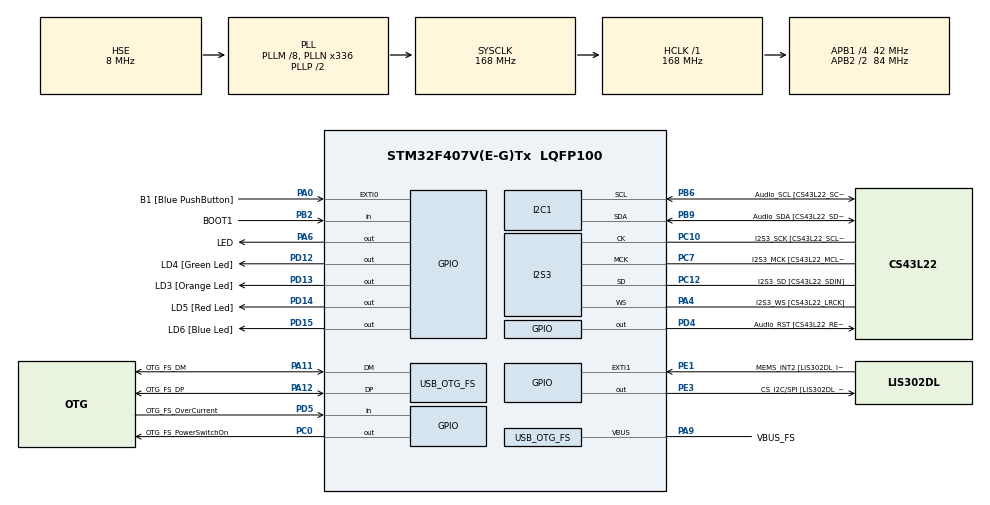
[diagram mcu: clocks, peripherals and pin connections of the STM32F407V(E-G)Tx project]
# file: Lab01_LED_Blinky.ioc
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I2S3.AudioFreq-Half_Duplex_Master=I2S_AUDIOFREQ_96K
I2S3.ErrorAudioFreq=-2.34 %
I2S3.ErrorAudioFreq-Half_Duplex_Master=0.8 %
I2S3.FullDuplexMode=I2S_FULLDUPLEXMODE_DISABLE
I2S3.Instance=SPI$Index
I2S3.RealAudioFreq=93.75 KHz
I2S3.RealAudioFreq-Half_Duplex_Master=96.774 KHz
I2S3.VirtualMode=I2S_MODE_MASTER
Mcu.Family=STM32F4
Mcu.Name=STM32F407V(E-G)Tx
Mcu.Package=LQFP100
NVIC.OTG_FS_IRQn=true\:0\:0\:false\:false\:true\:true\:true\:true
NVIC.PriorityGroup=NVIC_PRIORITYGROUP_0
PA0-WKUP.GPIO_Label=B1 [Blue PushButton]
PA0-WKUP.GPIO_ModeDefaultEXTI=GPIO_MODE_EVT_RISING
PA0-WKUP.GPIO_PuPd=GPIO_NOPULL
PA0-WKUP.Signal=GPXTI0
PA10.GPIO_Label=OTG_FS_ID
PA10.GPIO_Mode=GPIO_MODE_AF_PP
PA10.GPIO_PuPd=GPIO_NOPULL
PA10.GPIO_Speed=GPIO_SPEED_FREQ_LOW
PA10.Signal=USB_OTG_FS_ID
PA11.GPIO_Label=OTG_FS_DM
PA11.GPIO_Mode=GPIO_MODE_AF_PP
PA11.GPIO_PuPd=GPIO_NOPULL
PA11.GPIO_Speed=GPIO_SPEED_FREQ_LOW
PA11.Mode=Host_Only
PA11.Signal=USB_OTG_FS_DM
PA12.GPIO_Label=OTG_FS_DP
PA12.GPIO_Mode=GPIO_MODE_AF_PP
PA12.GPIO_PuPd=GPIO_NOPULL
PA12.GPIO_Speed=GPIO_SPEED_FREQ_LOW
PA12.Mode=Host_Only
PA12.Signal=USB_OTG_FS_DP
PA13.GPIO_Label=SWDIO
PA13.Mode=Serial_Wire
PA13.Signal=SYS_JTMS-SWDIO
PA14.GPIO_Label=SWCLK
PA14.Mode=Serial_Wire
PA14.Signal=SYS_JTCK-SWCLK
PA4.GPIO_Label=I2S3_WS [CS43L22_LRCK]
PA4.GPIO_Mode=GPIO_MODE_AF_PP
PA4.GPIO_PuPd=GPIO_NOPULL
PA4.GPIO_Speed=GPIO_SPEED_FREQ_LOW
PA4.Mode=Half_Duplex_Master
PA4.Signal=I2S3_WS
PA5.GPIO_Label=SPI1_SCK [LIS302DL_SCL/SPC]
PA5.GPIO_Mode=GPIO_MODE_AF_PP
PA5.GPIO_PuPd=GPIO_NOPULL
PA5.GPIO_Speed=GPIO_SPEED_FREQ_LOW
PA5.Signal=SPI1_SCK
PA6.GPIO_Label=LED
PA6.Signal=GPIO_Output
PA7.GPIO_Label=SPI1_MOSI [LIS302DL_SDA/SDI/SDO]
PA7.GPIO_Mode=GPIO_MODE_AF_PP
PA7.GPIO_PuPd=GPIO_NOPULL
PA7.GPIO_Speed=GPIO_SPEED_FREQ_LOW
PA7.Signal=SPI1_MOSI
PA9.GPIO_Label=VBUS_FS
PA9.GPIO_Mode=GPIO_MODE_INPUT
PA9.GPIO_PuPd=GPIO_NOPULL
PA9.Mode=Activate_VBUS
PA9.Signal=USB_OTG_FS_VBUS
PB10.GPIO_Label=CLK_IN [MP45DT02_CLK]
PB10.GPIO_Mode=GPIO_MODE_AF_PP
PB10.GPIO_PuPd=GPIO_NOPULL
PB10.GPIO_Speed=GPIO_SPEED_FREQ_LOW
PB10.Signal=I2S2_CK
PB2.GPIO_Label=BOOT1
PB2.GPIO_Mode=GPIO_MODE_INPUT
PB2.GPIO_PuPd=GPIO_NOPULL
PB2.Signal=GPIO_Input
PB3.GPIO_Label=SWO
PB3.Signal=SYS_JTDO-SWO
PB6.GPIO_Label=Audio_SCL [CS43L22_SCL]
PB6.GPIO_Mode=GPIO_MODE_AF_OD
PB6.GPIO_Pu=GPIO_PULLUP
PB6.GPIO_PuPd=GPIO_NOPULL
PB6.GPIO_Speed=GPIO_SPEED_FREQ_LOW
PB6.Mode=I2C
PB6.Signal=I2C1_SCL
PB9.GPIO_Label=Audio_SDA [CS43L22_SDA]
PB9.GPIO_Mode=GPIO_MODE_AF_OD
PB9.GPIO_Pu=GPIO_PULLUP
PB9.GPIO_PuPd=GPIO_NOPULL
PB9.GPIO_Speed=GPIO_SPEED_FREQ_LOW
PB9.Mode=I2C
PB9.Signal=I2C1_SDA
PC0.GPIO_Label=OTG_FS_PowerSwitchOn
PC0.GPIO_PuPd=GPIO_NOPULL
PC0.GPIO_Speed=GPIO_SPEED_FREQ_LOW
PC0.PinState=GPIO_PIN_SET
PC0.Signal=GPIO_Output
PC10.GPIO_Label=I2S3_SCK [CS43L22_SCLK]
PC10.GPIO_Mode=GPIO_MODE_AF_PP
PC10.GPIO_PuPd=GPIO_NOPULL
PC10.GPIO_Speed=GPIO_SPEED_FREQ_LOW
PC10.Mode=Half_Duplex_Master
PC10.Signal=I2S3_CK
PC12.GPIO_Label=I2S3_SD [CS43L22_SDIN]
PC12.GPIO_Mode=GPIO_MODE_AF_PP
PC12.GPIO_PuPd=GPIO_NOPULL
PC12.GPIO_Speed=GPIO_SPEED_FREQ_LOW
PC12.Mode=Half_Duplex_Master
PC12.Signal=I2S3_SD
PC14-OSC32_IN.GPIO_Label=PC14-OSC32_IN
PC14-OSC32_IN.Mode=LSE-External-Oscillator
PC14-OSC32_IN.Signal=RCC_OSC32_IN
PC15-OSC32_OUT.GPIO_Label=PC15-OSC32_OUT
PC15-OSC32_OUT.Mode=LSE-External-Oscillator
PC15-OSC32_OUT.Signal=RCC_OSC32_OUT
PC3.GPIO_Label=PDM_OUT [MP45DT02_DOUT]
PC3.GPIO_Mode=GPIO_MODE_AF_PP
PC3.GPIO_PuPd=GPIO_NOPULL
PC3.GPIO_Speed=GPIO_SPEED_FREQ_LOW
PC3.Signal=I2S2_SD
PC7.GPIO_Label=I2S3_MCK [CS43L22_MCLK]
PC7.GPIO_Mode=GPIO_MODE_AF_PP
PC7.GPIO_PuPd=GPIO_NOPULL
PC7.GPIO_Speed=GPIO_SPEED_FREQ_LOW
PC7.Mode=Master_Clock_Activated
PC7.Signal=I2S3_MCK
PD12.GPIO_Label=LD4 [Green Led]
PD12.GPIO_PuPd=GPIO_NOPULL
PD12.GPIO_Speed=GPIO_SPEED_FREQ_LOW
PD12.Signal=GPIO_Output
PD13.GPIO_Label=LD3 [Orange Led]
PD13.GPIO_PuPd=GPIO_NOPULL
PD13.GPIO_Speed=GPIO_SPEED_FREQ_LOW
PD13.Signal=GPIO_Output
PD14.GPIO_Label=LD5 [Red Led]
PD14.GPIO_PuPd=GPIO_NOPULL
PD14.GPIO_Speed=GPIO_SPEED_FREQ_LOW
PD14.Signal=GPIO_Output
PD15.GPIO_Label=LD6 [Blue Led]
PD15.GPIO_PuPd=GPIO_NOPULL
PD15.GPIO_Speed=GPIO_SPEED_FREQ_LOW
PD15.Signal=GPIO_Output
PD4.GPIO_Label=Audio_RST [CS43L22_RESET]
PD4.GPIO_PuPd=GPIO_NOPULL
PD4.GPIO_Speed=GPIO_SPEED_FREQ_LOW
PD4.Signal=GPIO_Output
PD5.GPIO_Label=OTG_FS_OverCurrent
PD5.GPIO_Mode=GPIO_MODE_INPUT
PD5.GPIO_PuPd=GPIO_NOPULL
PD5.Signal=GPIO_Input
PE1.GPIO_Label=MEMS_INT2 [LIS302DL_INT2]
PE1.GPIO_ModeDefaultEXTI=GPIO_MODE_EVT_RISING
PE1.GPIO_PuPd=GPIO_NOPULL
PE1.Signal=GPXTI1
PE3.GPIO_Label=CS_I2C/SPI [LIS302DL_CS_I2C/SPI]
PE3.GPIO_PuPd=GPIO_NOPULL
PE3.GPIO_Speed=GPIO_SPEED_FREQ_LOW
PE3.Signal=GPIO_Output
PH0-OSC_IN.GPIO_Label=PH0-OSC_IN
PH0-OSC_IN.Mode=HSE-External-Oscillator
PH0-OSC_IN.Signal=RCC_OSC_IN
PH1-OSC_OUT.GPIO_Label=PH1-OSC_OUT
PH1-OSC_OUT.Mode=HSE-External-Oscillator
PH1-OSC_OUT.Signal=RCC_OSC_OUT
ProjectManager.HeapSize=0x200
ProjectManager.StackSize=0x400
ProjectManager.TargetToolchain=CMake
RCC.48MHZClocksFreq_Value=48000000
RCC.AHBFreq_Value=168000000
RCC.APB1CLKDivider=RCC_HCLK_DIV4
RCC.APB1Freq_Value=42000000
RCC.APB1TimFreq_Value=84000000
RCC.APB2CLKDivider=RCC_HCLK_DIV2
RCC.APB2Freq_Value=84000000
RCC.APB2TimFreq_Value=168000000
RCC.CortexFreq_Value=168000000
RCC.HCLKFreq_Value=168000000
RCC.HSE_VALUE=8000000
RCC.HSI_VALUE=16000000
RCC.PLLM=8
RCC.PLLN=336
RCC.PLLQ=7
RCC.SYSCLKFreq_VALUE=168000000
RCC.SYSCLKSource=RCC_SYSCLKSOURCE_PLLCLK
RCC.VCOOutputFreq_Value=336000000
USB_HOST.BSP.number=1
USB_HOST.USBH_HandleTypeDef-CDC_FS=hUsbHostFS
USB_HOST.VirtualModeFS=Cdc
USB_HOST0.BSP.STBoard=false
USB_HOST0.BSP.api=Unknown
USB_HOST0.BSP.instance=PC0
USB_HOST0.BSP.ip=GPIO
USB_HOST0.BSP.mode=Output
USB_HOST0.BSP.name=Drive_VBUS_FS
USB_HOST0.BSP.solution=PC0
USB_OTG_FS.VirtualMode=Host_Only
USB_OTG_FS.phy_itface=HCD_PHY_EMBEDDED
VP_USB_HOST_VS_USB_HOST_CDC_FS.Mode=CDC_FS
board=STM32F407G-DISC1

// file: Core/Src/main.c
/* USER CODE BEGIN Header */
/**
  ******************************************************************************
  * @file           : main.c
  * @brief          : Main program body
  ******************************************************************************
  * @attention
  *
  * Copyright (c) 2025 STMicroelectronics.
  * All rights reserved.
  *
  * This software is licensed under terms that can be found in the LICENSE file
  * in the root directory of this software component.
  * If no LICENSE file comes with this software, it is provided AS-IS.
  *
  ******************************************************************************
  */
/* USER CODE END Header */
#include "main.h"
#include "stm32f407xx.h"
#include "stm32f4xx_hal_conf.h"
#include "stm32f4xx_hal_gpio.h"
#include "usb_host.h"
#include <stdint.h>

I2C_HandleTypeDef hi2c1;

I2S_HandleTypeDef hi2s3;

void SystemClock_Config(void);
static void MX_GPIO_Init(void);
static void MX_I2C1_Init(void);
static void MX_I2S3_Init(void);
void MX_USB_HOST_Process(void);

/* USER CODE BEGIN 0 */
void My_ODR_BSRR_Toggle(GPIO_TypeDef *GPIOx, uint16_t GPIO_Pin){
  // 讀取目前狀態
  uint32_t odr = GPIOx->ODR;

  // 確認pin腳為GPIO
  assert_param(IS_GPIO_PIN(GPIO_Pin));

  // 切換狀態
  GPIOx->BSRR = ((odr & GPIO_Pin) << 16) | ((~odr & GPIO_Pin));

}

void clockwise_LED(){
  My_ODR_BSRR_Toggle(GPIOD, GPIO_PIN_12);
  HAL_Delay(200);
  My_ODR_BSRR_Toggle(GPIOD, GPIO_PIN_13);
  HAL_Delay(200);
  My_ODR_BSRR_Toggle(GPIOD, GPIO_PIN_14);
  HAL_Delay(200);
  My_ODR_BSRR_Toggle(GPIOD, GPIO_PIN_15);
  HAL_Delay(200);
}

void use_array_to_control_LED(){
  uint16_t LED_pins[4] = {GPIO_PIN_12, GPIO_PIN_13, GPIO_PIN_14, GPIO_PIN_15};
  for(int i = 0; i < 4; i++){
    My_ODR_BSRR_Toggle(GPIOD, LED_pins[i]);
    HAL_Delay(200);
    My_ODR_BSRR_Toggle(GPIOD, LED_pins[i]);
    HAL_Delay(200);
  }
}

/* USER CODE END 0 */

int main(void)
{

  /* MCU Configuration--------------------------------------------------------*/

  /* Reset of all peripherals, Initializes the Flash interface and the Systick. */
  HAL_Init();

  /* Configure the system clock */
  SystemClock_Config();

  /* Initialize all configured peripherals */
  MX_GPIO_Init();
  MX_I2C1_Init();
  MX_I2S3_Init();
  MX_USB_HOST_Init();

  /* Infinite loop */
  /* USER CODE BEGIN WHILE */
while (1)
  {
    // clockwise_LED();
    use_array_to_control_LED();
  }
  /* USER CODE END 3 */
}

void SystemClock_Config(void)
{
  RCC_OscInitTypeDef RCC_OscInitStruct = {0};
  RCC_ClkInitTypeDef RCC_ClkInitStruct = {0};

  /** Configure the main internal regulator output voltage
  */
  __HAL_RCC_PWR_CLK_ENABLE();
  __HAL_PWR_VOLTAGESCALING_CONFIG(PWR_REGULATOR_VOLTAGE_SCALE1);

  /** Initializes the RCC Oscillators according to the specified parameters
  * in the RCC_OscInitTypeDef structure.
  */
  RCC_OscInitStruct.OscillatorType = RCC_OSCILLATORTYPE_HSE;
  RCC_OscInitStruct.HSEState = RCC_HSE_ON;
  RCC_OscInitStruct.PLL.PLLState = RCC_PLL_ON;
  RCC_OscInitStruct.PLL.PLLSource = RCC_PLLSOURCE_HSE;
  RCC_OscInitStruct.PLL.PLLM = 8;
  RCC_OscInitStruct.PLL.PLLN = 336;
  RCC_OscInitStruct.PLL.PLLP = RCC_PLLP_DIV2;
  RCC_OscInitStruct.PLL.PLLQ = 7;
  if (HAL_RCC_OscConfig(&RCC_OscInitStruct) != HAL_OK)
  {
    Error_Handler();
  }

  /** Initializes the CPU, AHB and APB buses clocks
  */
  RCC_ClkInitStruct.ClockType = RCC_CLOCKTYPE_HCLK|RCC_CLOCKTYPE_SYSCLK
                              |RCC_CLOCKTYPE_PCLK1|RCC_CLOCKTYPE_PCLK2;
  RCC_ClkInitStruct.SYSCLKSource = RCC_SYSCLKSOURCE_PLLCLK;
  RCC_ClkInitStruct.AHBCLKDivider = RCC_SYSCLK_DIV1;
  RCC_ClkInitStruct.APB1CLKDivider = RCC_HCLK_DIV4;
  RCC_ClkInitStruct.APB2CLKDivider = RCC_HCLK_DIV2;

  if (HAL_RCC_ClockConfig(&RCC_ClkInitStruct, FLASH_LATENCY_5) != HAL_OK)
  {
    Error_Handler();
  }
}

static void MX_I2C1_Init(void)
{

  hi2c1.Instance = I2C1;
  hi2c1.Init.ClockSpeed = 100000;
  hi2c1.Init.DutyCycle = I2C_DUTYCYCLE_2;
  hi2c1.Init.OwnAddress1 = 0;
  hi2c1.Init.AddressingMode = I2C_ADDRESSINGMODE_7BIT;
  hi2c1.Init.DualAddressMode = I2C_DUALADDRESS_DISABLE;
  hi2c1.Init.OwnAddress2 = 0;
  hi2c1.Init.GeneralCallMode = I2C_GENERALCALL_DISABLE;
  hi2c1.Init.NoStretchMode = I2C_NOSTRETCH_DISABLE;
  if (HAL_I2C_Init(&hi2c1) != HAL_OK)
  {
    Error_Handler();
  }

}

static void MX_I2S3_Init(void)
{

  hi2s3.Instance = SPI3;
  hi2s3.Init.Mode = I2S_MODE_MASTER_TX;
  hi2s3.Init.Standard = I2S_STANDARD_PHILIPS;
  hi2s3.Init.DataFormat = I2S_DATAFORMAT_16B;
  hi2s3.Init.MCLKOutput = I2S_MCLKOUTPUT_ENABLE;
  hi2s3.Init.AudioFreq = I2S_AUDIOFREQ_96K;
  hi2s3.Init.CPOL = I2S_CPOL_LOW;
  hi2s3.Init.ClockSource = I2S_CLOCK_PLL;
  hi2s3.Init.FullDuplexMode = I2S_FULLDUPLEXMODE_DISABLE;
  if (HAL_I2S_Init(&hi2s3) != HAL_OK)
  {
    Error_Handler();
  }

}

static void MX_GPIO_Init(void)
{
  GPIO_InitTypeDef GPIO_InitStruct = {0};

  /* GPIO Ports Clock Enable */
  __HAL_RCC_GPIOE_CLK_ENABLE();
  __HAL_RCC_GPIOC_CLK_ENABLE();
  __HAL_RCC_GPIOH_CLK_ENABLE();
  __HAL_RCC_GPIOA_CLK_ENABLE();
  __HAL_RCC_GPIOB_CLK_ENABLE();
  __HAL_RCC_GPIOD_CLK_ENABLE();

  /*Configure GPIO pin Output Level */
  HAL_GPIO_WritePin(CS_I2C_SPI_GPIO_Port, CS_I2C_SPI_Pin, GPIO_PIN_RESET);

  /*Configure GPIO pin Output Level */
  HAL_GPIO_WritePin(OTG_FS_PowerSwitchOn_GPIO_Port, OTG_FS_PowerSwitchOn_Pin, GPIO_PIN_SET);

  /*Configure GPIO pin Output Level */
  HAL_GPIO_WritePin(LED_GPIO_Port, LED_Pin, GPIO_PIN_RESET);

  /*Configure GPIO pin Output Level */
  HAL_GPIO_WritePin(GPIOD, LD4_Pin|LD3_Pin|LD5_Pin|LD6_Pin
                          |Audio_RST_Pin, GPIO_PIN_RESET);

  /*Configure GPIO pin : CS_I2C_SPI_Pin */
  GPIO_InitStruct.Pin = CS_I2C_SPI_Pin;
  GPIO_InitStruct.Mode = GPIO_MODE_OUTPUT_PP;
  GPIO_InitStruct.Pull = GPIO_NOPULL;
  GPIO_InitStruct.Speed = GPIO_SPEED_FREQ_LOW;
  HAL_GPIO_Init(CS_I2C_SPI_GPIO_Port, &GPIO_InitStruct);

  /*Configure GPIO pin : OTG_FS_PowerSwitchOn_Pin */
  GPIO_InitStruct.Pin = OTG_FS_PowerSwitchOn_Pin;
  GPIO_InitStruct.Mode = GPIO_MODE_OUTPUT_PP;
  GPIO_InitStruct.Pull = GPIO_NOPULL;
  GPIO_InitStruct.Speed = GPIO_SPEED_FREQ_LOW;
  HAL_GPIO_Init(OTG_FS_PowerSwitchOn_GPIO_Port, &GPIO_InitStruct);

  /*Configure GPIO pin : PDM_OUT_Pin */
  GPIO_InitStruct.Pin = PDM_OUT_Pin;
  GPIO_InitStruct.Mode = GPIO_MODE_AF_PP;
  GPIO_InitStruct.Pull = GPIO_NOPULL;
  GPIO_InitStruct.Speed = GPIO_SPEED_FREQ_LOW;
  GPIO_InitStruct.Alternate = GPIO_AF5_SPI2;
  HAL_GPIO_Init(PDM_OUT_GPIO_Port, &GPIO_InitStruct);

  /*Configure GPIO pin : B1_Pin */
  GPIO_InitStruct.Pin = B1_Pin;
  GPIO_InitStruct.Mode = GPIO_MODE_EVT_RISING;
  GPIO_InitStruct.Pull = GPIO_NOPULL;
  HAL_GPIO_Init(B1_GPIO_Port, &GPIO_InitStruct);

  /*Configure GPIO pins : SPI1_SCK_Pin SPI1_MOSI_Pin */
  GPIO_InitStruct.Pin = SPI1_SCK_Pin|SPI1_MOSI_Pin;
  GPIO_InitStruct.Mode = GPIO_MODE_AF_PP;
  GPIO_InitStruct.Pull = GPIO_NOPULL;
  GPIO_InitStruct.Speed = GPIO_SPEED_FREQ_LOW;
  GPIO_InitStruct.Alternate = GPIO_AF5_SPI1;
  HAL_GPIO_Init(GPIOA, &GPIO_InitStruct);

  /*Configure GPIO pin : LED_Pin */
  GPIO_InitStruct.Pin = LED_Pin;
  GPIO_InitStruct.Mode = GPIO_MODE_OUTPUT_PP;
  GPIO_InitStruct.Pull = GPIO_NOPULL;
  GPIO_InitStruct.Speed = GPIO_SPEED_FREQ_LOW;
  HAL_GPIO_Init(LED_GPIO_Port, &GPIO_InitStruct);

  /*Configure GPIO pin : BOOT1_Pin */
  GPIO_InitStruct.Pin = BOOT1_Pin;
  GPIO_InitStruct.Mode = GPIO_MODE_INPUT;
  GPIO_InitStruct.Pull = GPIO_NOPULL;
  HAL_GPIO_Init(BOOT1_GPIO_Port, &GPIO_InitStruct);

  /*Configure GPIO pin : CLK_IN_Pin */
  GPIO_InitStruct.Pin = CLK_IN_Pin;
  GPIO_InitStruct.Mode = GPIO_MODE_AF_PP;
  GPIO_InitStruct.Pull = GPIO_NOPULL;
  GPIO_InitStruct.Speed = GPIO_SPEED_FREQ_LOW;
  GPIO_InitStruct.Alternate = GPIO_AF5_SPI2;
  HAL_GPIO_Init(CLK_IN_GPIO_Port, &GPIO_InitStruct);

  /*Configure GPIO pins : LD4_Pin LD3_Pin LD5_Pin LD6_Pin
                           Audio_RST_Pin */
  GPIO_InitStruct.Pin = LD4_Pin|LD3_Pin|LD5_Pin|LD6_Pin
                          |Audio_RST_Pin;
  GPIO_InitStruct.Mode = GPIO_MODE_OUTPUT_PP;
  GPIO_InitStruct.Pull = GPIO_NOPULL;
  GPIO_InitStruct.Speed = GPIO_SPEED_FREQ_LOW;
  HAL_GPIO_Init(GPIOD, &GPIO_InitStruct);

  /*Configure GPIO pin : OTG_FS_OverCurrent_Pin */
  GPIO_InitStruct.Pin = OTG_FS_OverCurrent_Pin;
  GPIO_InitStruct.Mode = GPIO_MODE_INPUT;
  GPIO_InitStruct.Pull = GPIO_NOPULL;
  HAL_GPIO_Init(OTG_FS_OverCurrent_GPIO_Port, &GPIO_InitStruct);

  /*Configure GPIO pin : MEMS_INT2_Pin */
  GPIO_InitStruct.Pin = MEMS_INT2_Pin;
  GPIO_InitStruct.Mode = GPIO_MODE_EVT_RISING;
  GPIO_InitStruct.Pull = GPIO_NOPULL;
  HAL_GPIO_Init(MEMS_INT2_GPIO_Port, &GPIO_InitStruct);

}

void Error_Handler(void)
{
  __disable_irq();
  while (1)
  {
  }
}
